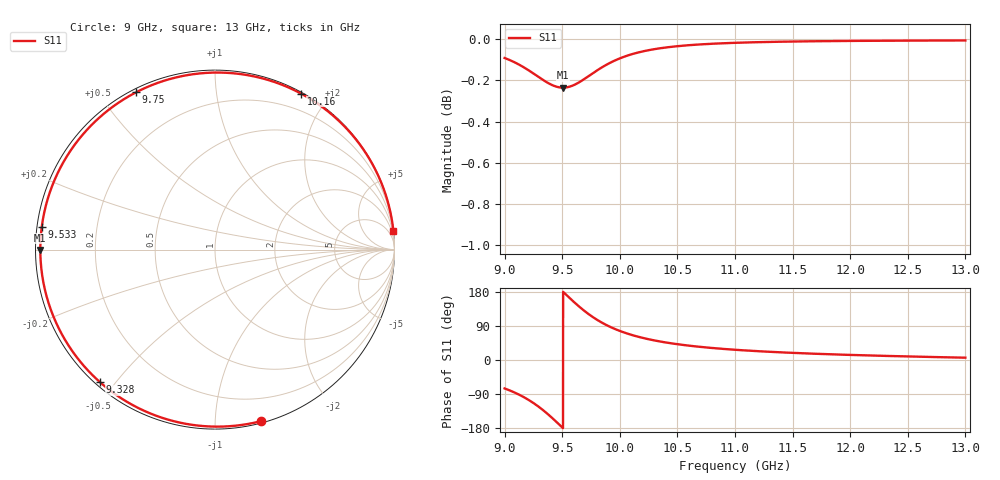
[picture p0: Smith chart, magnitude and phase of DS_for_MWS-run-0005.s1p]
! TOUCHSTONE file generated by CST DESIGN STUDIO
! Date and time: Tue Feb  4 12:32:10 2025
! Project name: C:\Work\MatlabApps\UnitCellOptimizationMatlab\CST\unitcell.cst
! Tree item: Tasks\Sweep1\SPara1\S-Parameters
! Header version: 2024
! Port assignment regex: !\s*Touchstone port\s*([0-9]+)\s*=\s*(CST MWS port|CST DES external port|CST DES block port)\s*(.+)\s* \(\"(.*)\"\)(\s*mode\s*([0-9]+))?.*
! Touchstone port assignment:
! Touchstone port 1 = CST DES external port 1 ("")
# GHz S MA R 50
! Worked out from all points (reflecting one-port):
!   4001 points, 9 GHz to 13 GHz, reference 50 ohm
!   lowest |S11| = -0.2 dB at 9.507 GHz (marker M1), VSWR 73.95, Z = 0.676 - j0.0718 ohm
!   phase of S11 starts at -75 deg and turns -279 deg over the sweep
!   S11 on the Smith chart (normalised r, x): 9 GHz: 0.01, -1.30; 9.328 GHz: 0.01, -0.46; 9.533 GHz: 0.01, +0.06; 9.75 GHz: 0.01, +0.62; 10.16 GHz: 0.01, +1.69; 13 GHz: 0, +19
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9  0.9896 -75.1
9.087  0.9872 -85.9
9.19  0.9836 -102.0
9.262  0.9806 -116.0
9.328  0.9778 -130.9
9.374  0.976 -142.5
9.422  0.9745 -155.5
9.462  0.9736 -166.8
9.5  0.9733 -177.8
9.507  0.9733 -179.8
9.533  0.9734 172.6
9.587  0.9743 157.2
9.647  0.9762 141.0
9.698  0.9783 128.3
9.75  0.9805 116.6
9.802  0.9827 106.2
9.859  0.985 96.2
9.929  0.9874 85.7
10  0.9894 76.7
10.163  0.9927 61.1
10.316  0.9947 50.7
10.5  0.9962 41.7
10.722  0.9972 33.9
11  0.998 27.0
11.5  0.9988 18.8
12  0.9991 13.4
12.5  0.9993 9.4
13  0.9994 6.1
